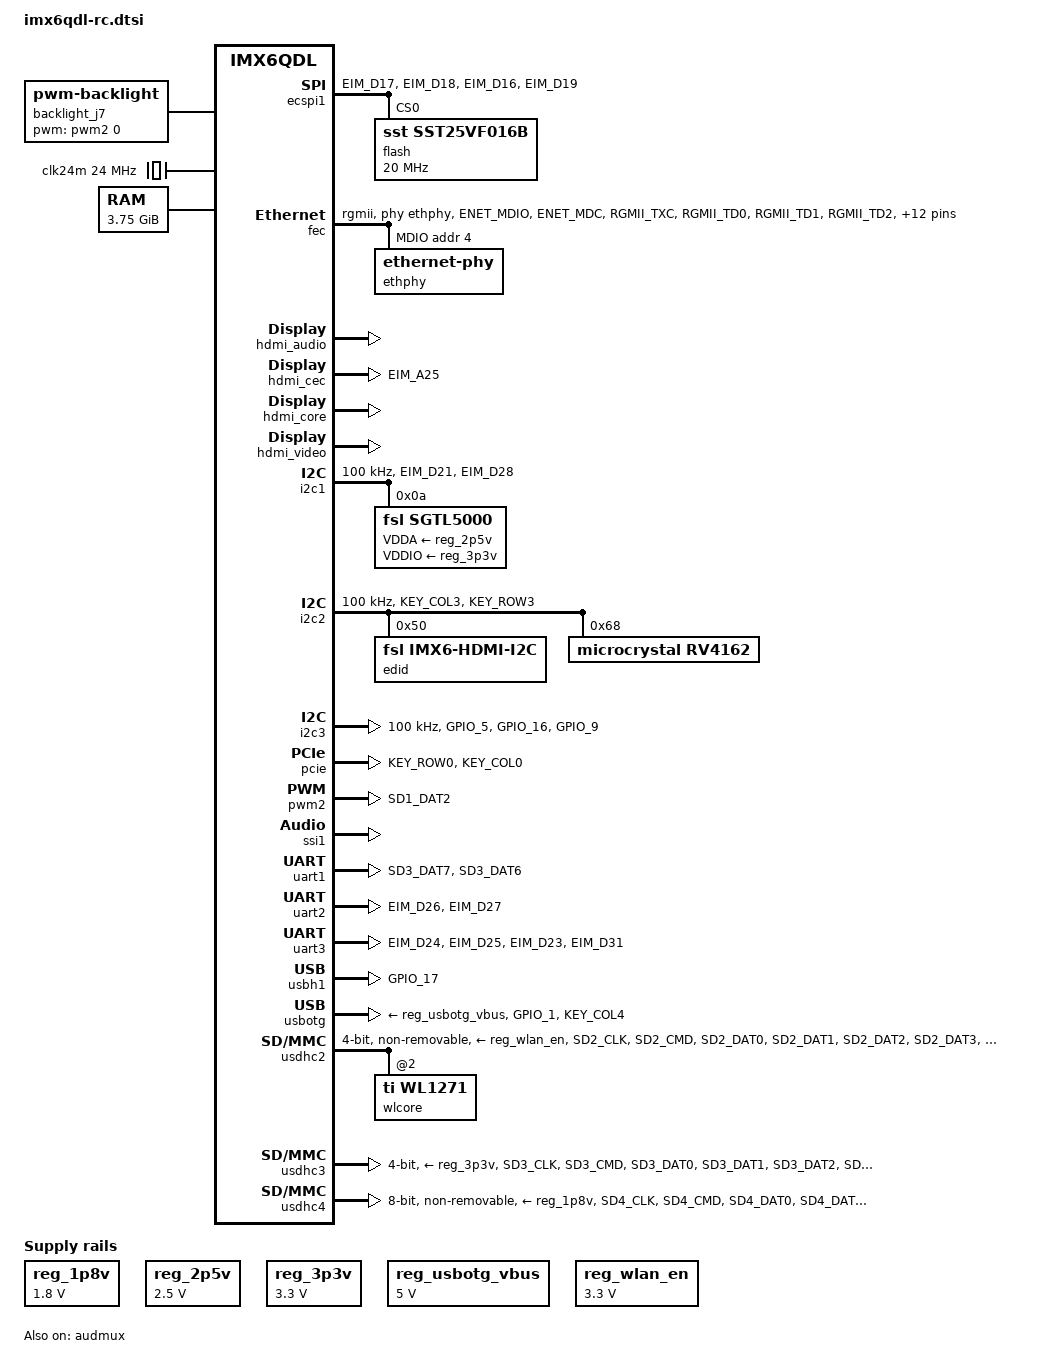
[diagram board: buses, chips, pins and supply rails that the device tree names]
/*
 * Copyright 2015 Boundary Devices
 * Copyright 2012 Freescale Semiconductor, Inc.
 * Copyright 2011 Linaro Ltd.
 *
 * The code contained herein is licensed under the GNU General Public
 * License. You may obtain a copy of the GNU General Public License
 * Version 2 or later at the following locations:
 *
 * http://www.opensource.org/licenses/gpl-license.html
 * http://www.gnu.org/copyleft/gpl.html
 */
#include <dt-bindings/gpio/gpio.h>
#include <dt-bindings/input/input.h>

&iomuxc {
	pinctrl-names = "default";
	pinctrl-0 = <&pinctrl_hog>;

	iomuxc_imx6q_rc: iomuxc-imx6q-rcgrp {
		status = "okay";
	};
};

&iomuxc_imx6q_rc {
	pinctrl_audmux: audmuxgrp {
		fsl,pins = <
			MX6QDL_PAD_CSI0_DAT7__AUD3_RXD		0x130b0
			MX6QDL_PAD_CSI0_DAT4__AUD3_TXC		0x130b0
			MX6QDL_PAD_CSI0_DAT5__AUD3_TXD		0x110b0
			MX6QDL_PAD_CSI0_DAT6__AUD3_TXFS		0x130b0
		>;
	};

	pinctrl_bt_rfkill: bt-rfkillgrp {
		fsl,pins = <
#define GP_BT_RFKILL_RESET	<&gpio6 16 GPIO_ACTIVE_LOW>
			MX6QDL_PAD_NANDF_CS3__GPIO6_IO16	0x030b0
		>;
	};

	pinctrl_ecspi1: ecspi1grp {
		fsl,pins = <
			MX6QDL_PAD_EIM_D17__ECSPI1_MISO		0x100b1
			MX6QDL_PAD_EIM_D18__ECSPI1_MOSI		0x100b1
			MX6QDL_PAD_EIM_D16__ECSPI1_SCLK		0x100b1
#define GP_ECSPI1_NOR_CS	<&gpio3 19 GPIO_ACTIVE_LOW>
			MX6QDL_PAD_EIM_D19__GPIO3_IO19		0x0b0b1
		>;
	};

	pinctrl_enet: enetgrp {
		fsl,pins = <
			MX6QDL_PAD_ENET_MDIO__ENET_MDIO		0x1b0b0
			MX6QDL_PAD_ENET_MDC__ENET_MDC		0x1b0b0
			MX6QDL_PAD_RGMII_TXC__RGMII_TXC		0x100b0
			MX6QDL_PAD_RGMII_TD0__RGMII_TD0		0x100b0
			MX6QDL_PAD_RGMII_TD1__RGMII_TD1		0x100b0
			MX6QDL_PAD_RGMII_TD2__RGMII_TD2		0x100b0
			MX6QDL_PAD_RGMII_TD3__RGMII_TD3		0x100b0
			MX6QDL_PAD_RGMII_TX_CTL__RGMII_TX_CTL	0x100b0
			MX6QDL_PAD_ENET_REF_CLK__ENET_TX_CLK	0x100b0
			MX6QDL_PAD_RGMII_RXC__RGMII_RXC		0x1b0b0
			MX6QDL_PAD_RGMII_RD0__RGMII_RD0		0x130b0
			MX6QDL_PAD_RGMII_RD1__RGMII_RD1		0x130b0
			MX6QDL_PAD_RGMII_RD2__RGMII_RD2		0x130b0
			MX6QDL_PAD_RGMII_RD3__RGMII_RD3		0x1b0b0
			MX6QDL_PAD_RGMII_RX_CTL__RGMII_RX_CTL	0x130b0
#define GP_ENET_PHY_RESET	<&gpio1 27 GPIO_ACTIVE_LOW>
			MX6QDL_PAD_ENET_RXD0__GPIO1_IO27	0x030b0
#define GPIRQ_ENET_PHY		<&gpio1 28 IRQ_TYPE_LEVEL_LOW>
			MX6QDL_PAD_ENET_TX_EN__GPIO1_IO28	0x1b0b0
#define GPIRQ_ENET		<&gpio1 6 IRQ_TYPE_LEVEL_HIGH>
			MX6QDL_PAD_GPIO_6__ENET_IRQ		0x000b1
		>;
	};

	pinctrl_hdmi_cec: hdmi_cecgrp {
		fsl,pins = <
			MX6QDL_PAD_EIM_A25__HDMI_TX_CEC_LINE	0x1f8b0
		>;
	};

	pinctrl_hog: hoggrp {
		fsl,pins = <
#define GP_HOG_TP68	<&gpio2 0 GPIO_ACTIVE_LOW>
			MX6QDL_PAD_NANDF_D0__GPIO2_IO00		0x1b0b0
#define GP_HOG_TP69	<&gpio2 1 GPIO_ACTIVE_LOW>
			MX6QDL_PAD_NANDF_D1__GPIO2_IO01		0x1b0b0
#define GP_HOG_TP70	<&gpio2 3 GPIO_ACTIVE_LOW>
			MX6QDL_PAD_NANDF_D3__GPIO2_IO03		0x1b0b0
#define GP_HOG_TP71	<&gpio2 4 GPIO_ACTIVE_LOW>
			MX6QDL_PAD_NANDF_D4__GPIO2_IO04		0x1b0b0
#define GP_HOG_TP77	<&gpio7 13 GPIO_ACTIVE_LOW>
			MX6QDL_PAD_GPIO_18__GPIO7_IO13		0x1b0b0
#define GP_HOG_TP78	<&gpio4 5 GPIO_ACTIVE_LOW>
			MX6QDL_PAD_GPIO_19__GPIO4_IO05		0x1b0b0
#define GPIRQ_IR	<&gpio2 30 IRQ_TYPE_LEVEL_LOW>
			MX6QDL_PAD_EIM_EB2__GPIO2_IO30		0x1b0b0
		>;
	};

	pinctrl_i2c1: i2c1grp {
		fsl,pins = <
			MX6QDL_PAD_EIM_D21__I2C1_SCL		0x4001b8b1
			MX6QDL_PAD_EIM_D28__I2C1_SDA		0x4001b8b1
		>;
	};

	pinctrl_i2c1_sgtl5000: i2c1-sgtl5000grp {
		fsl,pins = <
			MX6QDL_PAD_GPIO_0__CCM_CLKO1		0x000b0		/* sys_mclk */
#define GPIRQ_MIC_DET	<&gpio1 2 IRQ_TYPE_EDGE_BOTH>
			MX6QDL_PAD_GPIO_2__GPIO1_IO02		0x1b0b0
#define GPIRQ_HP_DET	<&gpio1 3 IRQ_TYPE_EDGE_BOTH>
			MX6QDL_PAD_GPIO_3__GPIO1_IO03		0x1b0b0
		>;
	};

	pinctrl_i2c2: i2c2grp {
		fsl,pins = <
			MX6QDL_PAD_KEY_COL3__I2C2_SCL		0x4001b8b1
			MX6QDL_PAD_KEY_ROW3__I2C2_SDA		0x4001b8b1
		>;
	};

	pinctrl_i2c2_rv4162: i2c2-rv4162grp {
		fsl,pins = <
#define GPIRQ_RTC_RV4162	<&gpio2 26 IRQ_TYPE_LEVEL_LOW>
			MX6QDL_PAD_EIM_RW__GPIO2_IO26		0x1b0b0
		>;
	};

	pinctrl_i2c3: i2c3grp {
		fsl,pins = <
			MX6QDL_PAD_GPIO_5__I2C3_SCL		0x4001b8b1
			MX6QDL_PAD_GPIO_16__I2C3_SDA		0x4001b8b1
#define GPIRQ_I2C3_J7	<&gpio1 9 IRQ_TYPE_EDGE_FALLING>
#define GP_I2C3_J7	<&gpio1 9 GPIO_ACTIVE_LOW>
			MX6QDL_PAD_GPIO_9__GPIO1_IO09		0x1b0b0
		>;
	};

	pinctrl_pcie: pciegrp {
		fsl,pins = <
#define GP_PCIE_RESET	<&gpio4 7 GPIO_ACTIVE_LOW>
			MX6QDL_PAD_KEY_ROW0__GPIO4_IO07		0x030b0
#define GP_PCIE_DISABLE	<&gpio4 6 GPIO_ACTIVE_LOW>
			MX6QDL_PAD_KEY_COL0__GPIO4_IO06		0x030b0
		>;
	};

	pinctrl_pwm2: pwm2grp {
		fsl,pins = <
			MX6QDL_PAD_SD1_DAT2__PWM2_OUT		0x030b1
		>;
	};

	pinctrl_reg_usbotg_vbus: reg-usbotg-vbusgrp {
		fsl,pins = <
#define GP_REG_USBOTG	<&gpio3 22 GPIO_ACTIVE_HIGH>
			MX6QDL_PAD_EIM_D22__GPIO3_IO22		0x030b0
		>;
	};

	pinctrl_reg_wlan_en: reg-wlan-engrp {
		fsl,pins = <
#define GP_REG_WLAN_EN	<&gpio6 15 GPIO_ACTIVE_HIGH>
			MX6QDL_PAD_NANDF_CS2__GPIO6_IO15	0x030b0
		>;
	};

	pinctrl_uart1: uart1grp {
		fsl,pins = <
			MX6QDL_PAD_SD3_DAT7__UART1_TX_DATA	0x1b0b1
			MX6QDL_PAD_SD3_DAT6__UART1_RX_DATA	0x1b0b1
		>;
	};

	pinctrl_uart2: uart2grp {
		fsl,pins = <
			MX6QDL_PAD_EIM_D26__UART2_TX_DATA	0x1b0b1
			MX6QDL_PAD_EIM_D27__UART2_RX_DATA	0x1b0b1
		>;
	};

	pinctrl_uart3: uart3grp {
		fsl,pins = <
			MX6QDL_PAD_EIM_D24__UART3_TX_DATA	0x1b0b1
			MX6QDL_PAD_EIM_D25__UART3_RX_DATA	0x1b0b1
			MX6QDL_PAD_EIM_D23__UART3_CTS_B		0x1b0b1
			MX6QDL_PAD_EIM_D31__UART3_RTS_B		0x1b0b1
		>;
	};

	pinctrl_usbh1: usbh1grp {
		fsl,pins = <
#define GP_USBH1_HUB_RESET	<&gpio7 12 GPIO_ACTIVE_LOW>
			MX6QDL_PAD_GPIO_17__GPIO7_IO12		0x030b0
		>;
	};

	pinctrl_usbotg: usbotggrp {
		fsl,pins = <
			MX6QDL_PAD_GPIO_1__USB_OTG_ID		0x17059
			MX6QDL_PAD_KEY_COL4__USB_OTG_OC		0x1b0b0
		>;
	};

	pinctrl_usdhc2: usdhc2grp {
		fsl,pins = <
			MX6QDL_PAD_SD2_CLK__SD2_CLK		0x10071
			MX6QDL_PAD_SD2_CMD__SD2_CMD		0x17071
			MX6QDL_PAD_SD2_DAT0__SD2_DATA0		0x17071
			MX6QDL_PAD_SD2_DAT1__SD2_DATA1		0x17071
			MX6QDL_PAD_SD2_DAT2__SD2_DATA2		0x17071
			MX6QDL_PAD_SD2_DAT3__SD2_DATA3		0x17071
			MX6QDL_PAD_SD1_CLK__OSC32K_32K_OUT	0x000b0		/* slow clock */
#define GPIRQ_WL1271	<&gpio6 14 IRQ_TYPE_LEVEL_HIGH>
			MX6QDL_PAD_NANDF_CS1__GPIO6_IO14	0x100b0
		>;
	};

	pinctrl_usdhc3: usdhc3grp {
		fsl,pins = <
			MX6QDL_PAD_SD3_CLK__SD3_CLK		0x10059
			MX6QDL_PAD_SD3_CMD__SD3_CMD		0x17059
			MX6QDL_PAD_SD3_DAT0__SD3_DATA0		0x17059
			MX6QDL_PAD_SD3_DAT1__SD3_DATA1		0x17059
			MX6QDL_PAD_SD3_DAT2__SD3_DATA2		0x17059
			MX6QDL_PAD_SD3_DAT3__SD3_DATA3		0x17059
			MX6QDL_PAD_NANDF_CS1__SD3_VSELECT	0x100b0		/* sd3 voltage select */
#define GP_USDHC3_WP	<&gpio7 1 GPIO_ACTIVE_HIGH>
			MX6QDL_PAD_SD3_DAT4__GPIO7_IO01		0x1b0b0
#define GP_USDHC3_CD	<&gpio7 0 GPIO_ACTIVE_LOW>
			MX6QDL_PAD_SD3_DAT5__GPIO7_IO00		0x1b0b0
		>;
	};

	pinctrl_usdhc4: usdhc4grp {
		fsl,pins = <
			MX6QDL_PAD_SD4_CLK__SD4_CLK		0x10059
			MX6QDL_PAD_SD4_CMD__SD4_CMD		0x17059
			MX6QDL_PAD_SD4_DAT0__SD4_DATA0		0x17059
			MX6QDL_PAD_SD4_DAT1__SD4_DATA1		0x17059
			MX6QDL_PAD_SD4_DAT2__SD4_DATA2		0x17059
			MX6QDL_PAD_SD4_DAT3__SD4_DATA3		0x17059
			MX6QDL_PAD_SD4_DAT4__SD4_DATA4		0x17059
			MX6QDL_PAD_SD4_DAT5__SD4_DATA5		0x17059
			MX6QDL_PAD_SD4_DAT6__SD4_DATA6		0x17059
			MX6QDL_PAD_SD4_DAT7__SD4_DATA7		0x17059
#define GP_EMMC_RESET	<&gpio2 7 GPIO_ACTIVE_LOW>
			MX6QDL_PAD_NANDF_D7__GPIO2_IO07		0x1b0b0
		>;
	};
};

/ {
	aliases {
		fb_hdmi = &fb_hdmi;
		mmc0 = &usdhc3;
		mmc1 = &usdhc4;
		mmc2 = &usdhc2;
		mxcfb0 = &fb_hdmi;
	};

	backlight_j7: backlight_j7 {
		compatible = "pwm-backlight";
		pwms = <&pwm2 0 5000000>;
		brightness-levels = <0 10 20 30 40 50 60 70 80 90 100>;
		default-brightness-level = <10>;
	};

	bt_rfkill {
		compatible = "net,rfkill-gpio";
		pinctrl-names = "default";
		pinctrl-0 = <&pinctrl_bt_rfkill>;
		name = "bt_rfkill";
		type = <2>;	/* bluetooth */
		reset-gpios = GP_BT_RFKILL_RESET;
	};

	clocks {
		clk24m: clk24m {
			compatible = "fixed-clock";
			#clock-cells = <0>;
			clock-frequency = <24000000>;
		};
	};

	fb_hdmi: fb@0 {
		compatible = "fsl,mxc_sdc_fb";
		disp_dev = "hdmi";
		interface_pix_fmt = "RGB24";
		mode_str ="1280x720M@60";
		default_bpp = <32>;
		int_clk = <0>;
		late_init = <0>;
		status = "okay";
	};

	memory {
		reg = <0x10000000 0xeffffc00>;
	};

	regulators {
		compatible = "simple-bus";
		#address-cells = <1>;
		#size-cells = <0>;

		reg_1p8v: regulator@0 {
			compatible = "regulator-fixed";
			reg = <0>;
			regulator-name = "1P8V";
			regulator-min-microvolt = <1800000>;
			regulator-max-microvolt = <1800000>;
			regulator-always-on;
		};

		reg_2p5v: regulator@1 {
			compatible = "regulator-fixed";
			reg = <1>;
			regulator-name = "2P5V";
			regulator-min-microvolt = <2500000>;
			regulator-max-microvolt = <2500000>;
			regulator-always-on;
		};

		reg_3p3v: regulator@2 {
			compatible = "regulator-fixed";
			reg = <2>;
			regulator-name = "3P3V";
			regulator-min-microvolt = <3300000>;
			regulator-max-microvolt = <3300000>;
			regulator-always-on;
		};

		reg_usbotg_vbus: regulator@3 {
			compatible = "regulator-fixed";
			reg = <3>;
			pinctrl-names = "default";
			pinctrl-0 = <&pinctrl_reg_usbotg_vbus>;
			regulator-name = "usb_otg_vbus";
			regulator-min-microvolt = <5000000>;
			regulator-max-microvolt = <5000000>;
			gpio = GP_REG_USBOTG;
			enable-active-high;
		};

		reg_wlan_en: regulator@4 {
			compatible = "regulator-fixed";
			reg = <4>;
			pinctrl-names = "default";
			pinctrl-0 = <&pinctrl_reg_wlan_en>;
			regulator-name = "wlan-en";
			regulator-min-microvolt = <3300000>;
			regulator-max-microvolt = <3300000>;
			gpio = GP_REG_WLAN_EN;
			startup-delay-us = <70000>;
			enable-active-high;
		};
	};

	sound {
		compatible = "fsl,imx6q-rc-sgtl5000",
			     "fsl,imx-audio-sgtl5000";
		model = "imx6q-rc-sgtl5000";
		ssi-controller = <&ssi1>;
		audio-codec = <&sgtl5000>;
		audio-routing =
			"MIC_IN", "Mic Jack",
			"Mic Jack", "Mic Bias",
			"Headphone Jack", "HP_OUT";
		mux-int-port = <1>;
		mux-ext-port = <3>;
	};

	sound-hdmi {
		compatible = "fsl,imx6q-audio-hdmi",
			     "fsl,imx-audio-hdmi";
		model = "imx-audio-hdmi";
		hdmi-controller = <&hdmi_audio>;
	};

	v4l2_out {
		compatible = "fsl,mxc_v4l2_output";
		status = "okay";
	};
};

&audmux {
	pinctrl-names = "default";
	pinctrl-0 = <&pinctrl_audmux>;
	status = "okay";
};

&ecspi1 {
	pinctrl-names = "default";
	pinctrl-0 = <&pinctrl_ecspi1>;
	fsl,spi-num-chipselects = <1>;
	cs-gpios = GP_ECSPI1_NOR_CS;
	status = "okay";

	flash: m25p80@0 {
		compatible = "sst,sst25vf016b";
		spi-max-frequency = <20000000>;
		reg = <0>;
		#address-cells = <1>;
		#size-cells = <1>;
		mtd@00000000 {
			label = "U-Boot";
			reg = <0x0 0xC0000>;
		};

		mtd@000C0000 {
			label = "env";
			reg = <0xC0000 0x2000>;
		};
		mtd@000C2000 {
			label = "splash";
			reg = <0xC2000 0x13e000>;
		};
	};
};

&fec {
	interrupts-extended = GPIRQ_ENET,
			      <&gpc 0 119 IRQ_TYPE_LEVEL_HIGH>;
	phy-handle = <&ethphy>;
	phy-mode = "rgmii";
#if 0
	phy-reset-gpios = GP_ENET_PHY_RESET;
#endif
	pinctrl-names = "default";
	pinctrl-0 = <&pinctrl_enet>;
	status = "okay";

	mdio {
		#address-cells = <0>;
		#size-cells = <1>;

		ethphy: ethernet-phy@4 {
			reg = <4>;
			interrupts-extended = GPIRQ_ENET_PHY;
		};
	};
};

&hdmi_audio {
	status = "okay";
};

&hdmi_cec {
	pinctrl-names = "default";
	pinctrl-0 = <&pinctrl_hdmi_cec>;
	status = "okay";
};

&hdmi_core {
	ipu_id = <0>;
	disp_id = <0>;
	status = "okay";
};

&hdmi_video {
	fsl,phy_reg_vlev = <0x0294>;
	fsl,phy_reg_cksymtx = <0x800d>;
	status = "okay";
};

&i2c1 {
	clock-frequency = <100000>;
	pinctrl-names = "default";
	pinctrl-0 = <&pinctrl_i2c1>;
	status = "okay";

	sgtl5000: sgtl5000@0a {
		compatible = "fsl,sgtl5000";
		pinctrl-names = "default";
		pinctrl-0 = <&pinctrl_i2c1_sgtl5000>;
		reg = <0x0a>;
		clocks = <&clks IMX6QDL_CLK_CKO>;
		VDDA-supply = <&reg_2p5v>;
		VDDIO-supply = <&reg_3p3v>;
	};
};


&i2c2 {
	clock-frequency = <100000>;
	pinctrl-names = "default";
	pinctrl-0 = <&pinctrl_i2c2>;
	status = "okay";

	edid@50 {
		compatible = "fsl,imx6-hdmi-i2c";
		reg = <0x50>;
	};

	rv4162@68 {
		compatible = "microcrystal,rv4162";
		pinctrl-names = "default";
		pinctrl-0 = <&pinctrl_i2c2_rv4162>;
		reg = <0x68>;
		interrupts-extended = GPIRQ_RTC_RV4162;
	};
};

&i2c3 {
	clock-frequency = <100000>;
	pinctrl-names = "default";
	pinctrl-0 = <&pinctrl_i2c3>;
	status = "okay";
};

&pcie {
	pinctrl-names = "default";
	pinctrl-0 = <&pinctrl_pcie>;
	reset-gpios = GP_PCIE_RESET;
	status = "okay";
};

&pwm2 {
	pinctrl-names = "default";
	pinctrl-0 = <&pinctrl_pwm2>;
	status = "okay";
};

&ssi1 {
	fsl,mode = "i2s-slave";
	status = "okay";
};

&uart1 {
	pinctrl-names = "default";
	pinctrl-0 = <&pinctrl_uart1>;
	status = "okay";
};

&uart2 {
	pinctrl-names = "default";
	pinctrl-0 = <&pinctrl_uart2>;
	status = "okay";
};

&uart3 {
	pinctrl-names = "default";
	pinctrl-0 = <&pinctrl_uart3>;
	fsl,uart-has-rtscts;
	status = "okay";
};

&usbh1 {
	pinctrl-names = "default";
	pinctrl-0 = <&pinctrl_usbh1>;
	disable-over-current;
	reset-gpios = GP_USBH1_HUB_RESET;
	status = "okay";
};

&usbotg {
	vbus-supply = <&reg_usbotg_vbus>;
	pinctrl-names = "default";
	pinctrl-0 = <&pinctrl_usbotg>;
	disable-over-current;
	status = "okay";
};

&usdhc2 {	/* uSDHC2, TiWi wl1271 */
	pinctrl-names = "default";
	pinctrl-0 = <&pinctrl_usdhc2>;
	bus-width = <4>;
	non-removable;
	vmmc-supply = <&reg_wlan_en>;
	vqmmc-1-8-v;
	cap-power-off-card;
	keep-power-in-suspend;
	status = "okay";

	#address-cells = <1>;
	#size-cells = <0>;
	wlcore: wlcore@2 {
		compatible = "ti,wl1271";
		interrupts-extended = GPIRQ_WL1271;
		reg = <2>;
		ref-clock-frequency = <38400000>;
	};
};

&usdhc3 {
	pinctrl-names = "default";
	pinctrl-0 = <&pinctrl_usdhc3>;
	bus-width = <4>;
	cd-gpios = GP_USDHC3_CD;
	vmmc-supply = <&reg_3p3v>;
	status = "okay";
};

&usdhc4 {
	pinctrl-names = "default";
	pinctrl-0 = <&pinctrl_usdhc4>;
	bus-width = <8>;
	non-removable;
	vqmmc-1-8-v;
	vmmc-supply = <&reg_1p8v>;
	keep-power-in-suspend;
	status = "okay";
};
